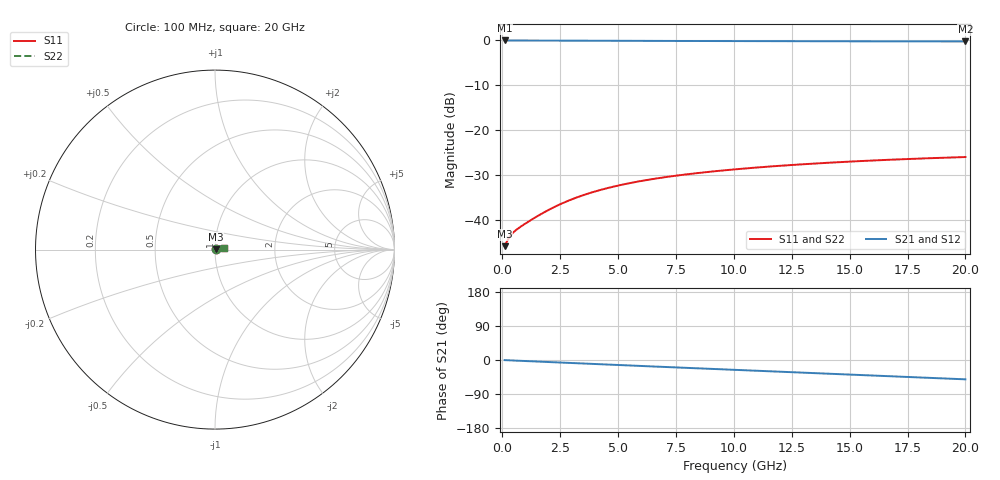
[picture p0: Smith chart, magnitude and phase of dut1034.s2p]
! Touchstone file exported from HFSS 2026.1.0
!  File:  C:/ffzhzh/LocalFiles/Ansys_Project_Files/temp_train_BSMRDL_1034_1783173649_51560.aedt
!  Generated:  10:02:11 PM Jul  4, 2026
!  Design:  BSMRDL
!  Project:  temp_train_BSMRDL_1034_1783173649_51560
! Variables:
!  h_bsmrdl = 5.02um
!  h_ox = 20um
!  h_rdl = 5um
!  h_sub = 80um
!  h_tmrdl = 5um
!  h_tsv = 80um
!  h_via = 3um
!  l_bsmrdl = 936.76um
!  l_sub = 1336.76um
!  l_tmrdl = 200um
!  m_sub = 200um
!  pitch = 18.47um
!  r_tsv = 6um
!  s_tmrdl = 10um
!  w_bsmrdl = 13.72um
!  w_sub = 500um
!  w_tmrdl = 12um
!  x_tsv_center1 = 206um
!  x_tsv_center2 = 1156.48um
!  x_tsv_center3 = 1368.48um
!  x_tsv_center4 = 2318.96um
!  x_tsv_center5 = 2530.96um
!  x_tsv_center6 = 3481.44um
# GHz S MA R 50.000000
! Terminal data exported
! Port[1] = BSM_RDL1_1_T1
! Port[2] = BSM_RDL1_1_T2
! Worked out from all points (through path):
!   200 points, 100 MHz to 20 GHz, reference 50 ohm
!   highest |S21| = -0.04 dB at 100 MHz (marker M1); lowest = -0.3 dB at 20 GHz (marker M2)
!   group delay of S21, straight-line fit = 7.05 ps
!   lowest |S11| = -45.8 dB at 100 MHz (marker M3), VSWR 1.01, Z = 50.5 + j0.11 ohm
!   |S11| at or under -10 dB: start of sweep to end of sweep
!   |S22| runs from -45.8 to -26.0 dB; largest |S21 - S12| = 1.1e-14
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0.1  0.005103 12.3  0.995 -0.3  0.995 -0.3  0.005103 12.3
! Gamma 0 0 0 0
! Port Impedance 50 0 50 0
0.2  0.005754 19.7  0.9946 -0.6  0.9946 -0.6  0.005754 19.7
0.3  0.006393 23.3  0.9942 -0.9  0.9942 -0.9  0.006393 23.3
0.4  0.006921 25.5  0.9938 -1.1  0.9938 -1.1  0.006921 25.5
0.5  0.007357 27.2  0.9935 -1.4  0.9935 -1.4  0.007357 27.2
0.6  0.007739 28.9  0.9933 -1.7  0.9933 -1.7  0.007739 28.9
1  0.00912 34.9  0.9928 -2.7  0.9928 -2.7  0.00912 34.9
1.6  0.01134 41.4  0.992 -4.3  0.992 -4.3  0.01134 41.4
2.2  0.01373 44.7  0.9912 -5.9  0.9912 -5.9  0.01373 44.7
2.8  0.01615 45.9  0.9903 -7.5  0.9903 -7.5  0.01615 45.9
3.5  0.01888 45.8  0.989 -9.3  0.989 -9.3  0.01888 45.8
4.2  0.02143 44.8  0.9878 -11.2  0.9878 -11.2  0.02143 44.8
5  0.02412 43.1  0.9863 -13.2  0.9863 -13.2  0.02412 43.1
5.9  0.02686 40.9  0.9847 -15.5  0.9847 -15.5  0.02685 40.9
6.8  0.02932 38.6  0.9833 -17.8  0.9833 -17.8  0.02931 38.6
8.3  0.03294 34.8  0.981 -21.6  0.981 -21.6  0.03293 34.8
10.1  0.03667 30.4  0.9787 -26.2  0.9787 -26.2  0.03665 30.5
11.7  0.03956 26.6  0.9769 -30.2  0.9769 -30.2  0.03954 26.7
13.4  0.04229 22.7  0.9751 -34.5  0.9751 -34.5  0.04226 22.8
16.7  0.04672 15.2  0.9721 -42.7  0.9721 -42.7  0.04668 15.3
18.4  0.04859 11.3  0.9707 -47.0  0.9707 -47.0  0.04854 11.4
20  0.05011 7.7  0.9694 -51.0  0.9694 -51.0  0.05005 7.8
